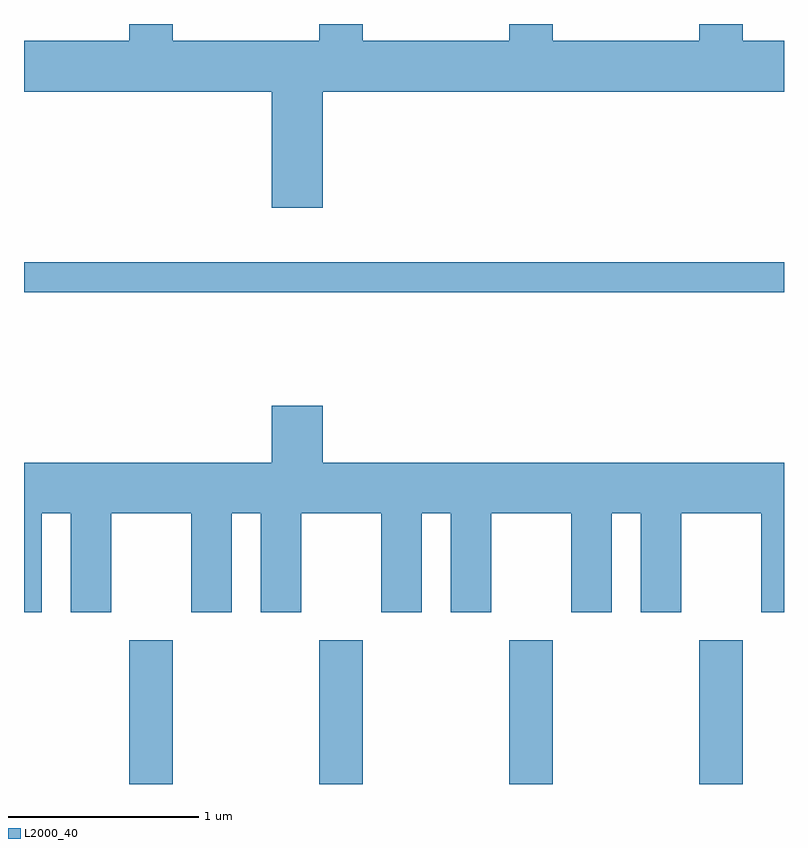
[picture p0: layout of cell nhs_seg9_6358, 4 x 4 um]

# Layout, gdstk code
import gdstk
lib = gdstk.Library(unit=1e-6, precision=1e-09)
def R(c, l, rs):  # rectangles x0, y0, x1, y1
    for r in rs: c.add(gdstk.rectangle(r[:2], r[2:], *l))
def A(c, l, x, y, w, h, nx, ny, dx, dy):  # array of equal rectangles
    R(c, l, [(x+i*dx, y+j*dy, x+i*dx+w, y+j*dy+h) for i in range(nx) for j in range(ny)])
def P(c, l, *ps):  # polygons
    for p in ps: c.add(gdstk.Polygon(p, *l))
L2000_40 = (2000, 40)

nhs_seg9_6358 = lib.new_cell('nhs_seg9_6358')
A(nhs_seg9_6358, L2000_40, 374.166, 1950.432, 0.228, 0.757, 4, 1, 1, 0)
R(nhs_seg9_6358, L2000_40, [(373.611,1953.021,377.611,1953.179)])
P(nhs_seg9_6358, L2000_40, [(375.184,1954.076),(377.611,1954.076),(377.611,1954.344),(377.394,1954.344),(377.394,1954.432),(377.166,1954.432),(377.166,1954.344),(376.394,1954.344),(376.394,1954.432),(376.166,1954.432),(376.166,1954.344),(375.394,1954.344),(375.394,1954.432),(375.166,1954.432),(375.166,1954.344),(374.394,1954.344),(374.394,1954.432),(374.166,1954.432),(374.166,1954.344),(373.611,1954.344),(373.611,1954.076),(374.916,1954.076),(374.916,1953.466),(375.184,1953.466)],
  [(373.704,1951.856),(373.856,1951.856),(373.856,1951.336),(374.069,1951.336),(374.069,1951.856),(374.491,1951.856),(374.491,1951.336),(374.704,1951.336),(374.704,1951.856),(374.856,1951.856),(374.856,1951.336),(375.069,1951.336),(375.069,1951.856),(375.491,1951.856),(375.491,1951.336),(375.704,1951.336),(375.704,1951.856),(375.856,1951.856),(375.856,1951.336),(376.069,1951.336),(376.069,1951.856),(376.491,1951.856),(376.491,1951.336),(376.704,1951.336),(376.704,1951.856),(376.856,1951.856),(376.856,1951.336),(377.069,1951.336),(377.069,1951.856),(377.491,1951.856),(377.491,1951.336),(377.611,1951.336),(377.611,1952.124),(375.184,1952.124),(375.184,1952.424),(374.916,1952.424),(374.916,1952.124),(373.611,1952.124),(373.611,1951.336),(373.704,1951.336)])

lib.write_gds('nhs_seg9_6358.gds')
